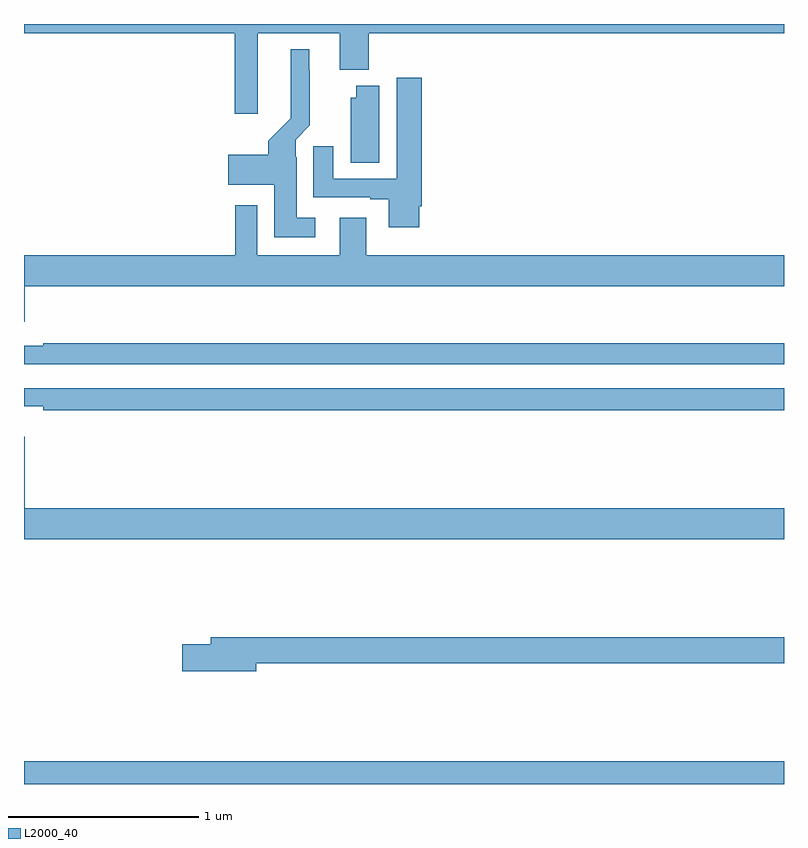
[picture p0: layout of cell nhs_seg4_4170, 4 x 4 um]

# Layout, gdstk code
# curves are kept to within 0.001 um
import gdstk
lib = gdstk.Library(unit=1e-6, precision=1e-09)
def R(c, l, rs):  # rectangles x0, y0, x1, y1
    for r in rs: c.add(gdstk.rectangle(r[:2], r[2:], *l))
def P(c, l, *ps):  # polygons
    for p in ps: c.add(gdstk.Polygon(p, *l))
L2000_40 = (2000, 40)

nhs_seg4_4170 = lib.new_cell('nhs_seg4_4170')
R(nhs_seg4_4170, L2000_40, [(333,760.9,337,761.02)])
P(nhs_seg4_4170, L2000_40, [(334.231,764.852),(334.661,764.852),(334.661,764.66),(334.814,764.66),(334.814,764.852),(337,764.852),(337,764.9),(333,764.9),(333,764.852),(334.109,764.852),(334.109,764.427),(334.231,764.427)],
  [(334.534,763.879),(334.435,763.879),(334.435,764.198),(334.431,764.198),(334.431,764.292),(334.505,764.366),(334.505,764.657),(334.501,764.657),(334.501,764.767),(334.403,764.767),(334.404,764.404),(334.286,764.286),(334.286,764.212),(334.074,764.212),(334.074,764.054),(334.316,764.054),(334.316,763.778),(334.534,763.778)],
  [(335.08,763.942),(335.093,763.942),(335.093,764.617),(334.961,764.617),(334.961,764.085),(334.627,764.085),(334.627,764.257),(334.523,764.257),(334.523,763.989),(334.823,763.989),(334.823,763.977),(334.919,763.977),(334.919,763.83),(335.08,763.83)],
  [(334.87,764.575),(334.748,764.575),(334.748,764.511),(334.721,764.511),(334.721,764.17),(334.87,764.17)],
  [(333.004,763.52),(337,763.52),(337,763.684),(334.801,763.684),(334.801,763.879),(334.661,763.879),(334.661,763.684),(334.227,763.684),(334.227,763.945),(334.111,763.945),(334.111,763.684),(333,763.684),(333,763.332),(333.004,763.332)],
  [(337,763.219),(333.1,763.219),(333.1,763.206),(333,763.206),(333,763.11),(337,763.11)],
  [(337,762.984),(333,762.984),(333,762.887),(333.1,762.887),(333.1,762.868),(337,762.868)],
  [(337,762.352),(333.004,762.352),(333.004,762.727),(333,762.727),(333,762.188),(337,762.188)],
  [(334.222,761.536),(337,761.536),(337,761.672),(333.983,761.672),(333.983,761.636),(333.834,761.636),(333.834,761.494),(334.222,761.494)])

lib.write_gds('nhs_seg4_4170.gds')
